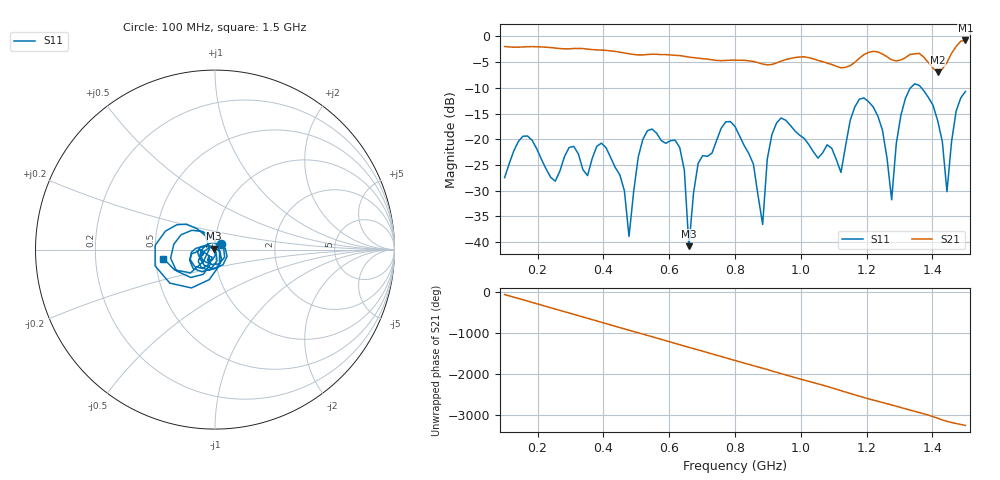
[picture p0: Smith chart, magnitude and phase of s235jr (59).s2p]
! NanoVNA-App
! Date: 2025-09-25 15:04:37
! Start: 100MHz Stop: 1,5GHz Points: 101
! S-Parameter data: F S11 S21 S12 S22
# Hz S RI R 50
!  Frequency  S11_Real  S11_Imag  S21_Real  S21_Imag  S12_Real  S12_Imag  S22_Real  S22_Imag
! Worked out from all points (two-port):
!   101 points, 100 MHz to 1.5 GHz, reference 50 ohm
!   highest |S21| = -0.78 dB at 1.5 GHz (marker M1); lowest = -7.0 dB at 1.416 GHz (marker M2)
!   |S21| within 3 dB of the highest: start of sweep to 637.1 MHz; 1.187 GHz to 1.257 GHz (70.3 MHz wide, 5.75 % of centre) (the widest 2 of 4)
!   lowest |S11| = -40.8 dB at 660 MHz (marker M3), VSWR 1.02, Z = 49.3 + j0.567 ohm
!   |S11| at or under -10 dB: start of sweep to 1.333 GHz; 1.366 GHz to end of sweep
!   S12 and S22 are empty: the file has one direction only
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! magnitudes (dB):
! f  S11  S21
! 100 MHz  -27.5  -2.0
! 156 MHz  -19.4  -2.0
! 338 MHz  -25.9  -2.4
! 408 MHz  -21.6  -2.7
! 478 MHz  -38.9  -3.4
! 520 MHz  -20.0  -3.6
! 576 MHz  -20.3  -3.5
! 632 MHz  -21.6  -3.7
! 660 MHz  -40.8  -4.0
! 688 MHz  -24.7  -4.2
! 800 MHz  -17.5  -4.6
! 884 MHz  -36.6  -5.4
! 926 MHz  -16.9  -5.2
! 1.038 GHz  -22.4  -4.4
! 1.122 GHz  -26.5  -6.1
! 1.192 GHz  -12.0  -3.5
! 1.248 GHz  -18.2  -3.4
! 1.276 GHz  -31.8  -4.5
! 1.332 GHz  -10.1  -3.5
! 1.416 GHz  -16.4  -7.0
! 1.444 GHz  -30.2  -5.1
! 1.5 GHz  -10.7  -0.8
